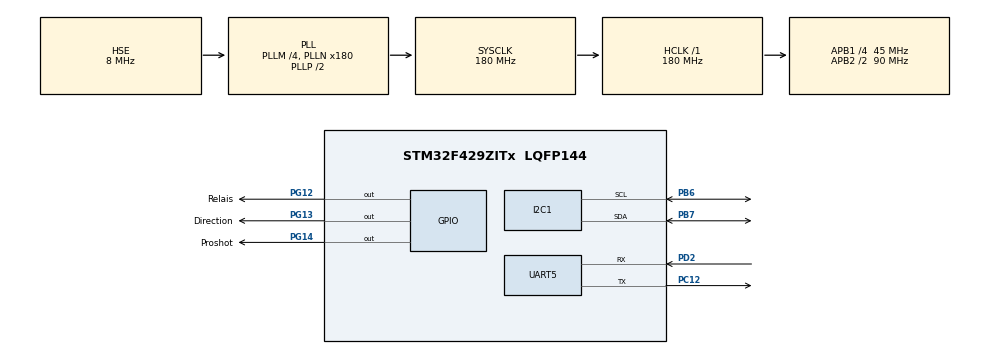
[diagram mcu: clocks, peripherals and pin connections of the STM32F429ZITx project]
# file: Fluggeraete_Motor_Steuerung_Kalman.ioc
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Mcu.Family=STM32F4
Mcu.Name=STM32F429ZITx
Mcu.Package=LQFP144
NVIC.PriorityGroup=NVIC_PRIORITYGROUP_4
NVIC.UART5_IRQn=true\:0\:0\:false\:false\:true\:true\:true\:true
PB6.Mode=I2C
PB6.Signal=I2C1_SCL
PB7.Mode=I2C
PB7.Signal=I2C1_SDA
PC12.Mode=Asynchronous
PC12.Signal=UART5_TX
PD2.Mode=Asynchronous
PD2.Signal=UART5_RX
PG12.GPIO_Label=Relais
PG12.Signal=GPIO_Output
PG13.GPIO_Label=Direction
PG13.Signal=GPIO_Output
PG14.GPIO_Label=Proshot
PG14.Signal=GPIO_Output
PH0/OSC_IN.Mode=HSE-External-Oscillator
PH0/OSC_IN.Signal=RCC_OSC_IN
PH1/OSC_OUT.Mode=HSE-External-Oscillator
PH1/OSC_OUT.Signal=RCC_OSC_OUT
ProjectManager.HeapSize=0x200
ProjectManager.StackSize=0x400
ProjectManager.TargetToolchain=STM32CubeIDE
RCC.48MHZClocksFreq_Value=90000000
RCC.AHBFreq_Value=180000000
RCC.APB1CLKDivider=RCC_HCLK_DIV4
RCC.APB1Freq_Value=45000000
RCC.APB1TimFreq_Value=90000000
RCC.APB2CLKDivider=RCC_HCLK_DIV2
RCC.APB2Freq_Value=90000000
RCC.APB2TimFreq_Value=180000000
RCC.CortexFreq_Value=180000000
RCC.HCLKFreq_Value=180000000
RCC.HSE_VALUE=8000000
RCC.HSI_VALUE=16000000
RCC.LSE_VALUE=32768
RCC.PLLM=4
RCC.PLLN=180
RCC.PLLSourceVirtual=RCC_PLLSOURCE_HSE
RCC.SYSCLKFreq_VALUE=180000000
RCC.SYSCLKSource=RCC_SYSCLKSOURCE_PLLCLK
RCC.VCOOutputFreq_Value=360000000
TIM2.Prescaler=90-1
UART5.VirtualMode=Asynchronous
VP_TIM2_VS_ClockSourceINT.Mode=Internal
board=custom

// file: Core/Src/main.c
/* USER CODE BEGIN Header */
/**
  ******************************************************************************
  * @file           : main.c
  * @brief          : Main program body
  ******************************************************************************
  * @attention
  *
  * Copyright (c) 2024 STMicroelectronics.
  * All rights reserved.
  *
  * This software is licensed under terms that can be found in the LICENSE file
  * in the root directory of this software component.
  * If no LICENSE file comes with this software, it is provided AS-IS.
  *
  ******************************************************************************
  */
/* USER CODE END Header */
#include "main.h"

/* USER CODE BEGIN PD */
#define Proshot GPIO_PIN_14
/* USER CODE END PD */

I2C_HandleTypeDef hi2c1;

TIM_HandleTypeDef htim2;

UART_HandleTypeDef huart5;

void SystemClock_Config(void);
static void MX_GPIO_Init(void);
static void MX_I2C1_Init(void);
static void MX_TIM2_Init(void);
static void MX_UART5_Init(void);

/* USER CODE BEGIN 0 */
uint8_t test = 0;
uint8_t ready = 0;
uint8_t Rx_data[1];

uint32_t Impuls_Start       = 300;    // Start-Versatz
uint32_t Impuls_Delta       =  22;    // fuer 125 ns
uint32_t Impuls_Grundbreite = 181;    // 1 us
uint32_t Impuls_Abstand     = 732;    // 4.04 us
uint32_t Impuls_Breite_1    =   0;
uint32_t Impuls_Breite_2    =   0;
uint32_t Impuls_Breite_3    =   0;
uint32_t Impuls_Breite_4    =   0;

volatile unsigned char OC_CH1_N = 0;

/* USER CODE END 0 */

int main(void)
{

  /* MCU Configuration--------------------------------------------------------*/

  /* Reset of all peripherals, Initializes the Flash interface and the Systick. */
  HAL_Init();

  /* Configure the system clock */
  SystemClock_Config();

  /* Initialize all configured peripherals */
  MX_GPIO_Init();
  MX_I2C1_Init();
  MX_TIM2_Init();
  MX_UART5_Init();
  /* USER CODE BEGIN 2 */
  HAL_Delay(100);
  HAL_TIM_Base_Start(&htim2);

  /* USER CODE END 2 */

  /* Infinite loop */
  /* USER CODE BEGIN WHILE */

    RCC->APB2ENR = RCC_APB2ENR_TIM1EN; // enable timer clock in RCC
  	RCC->APB2ENR;
  	TIM1->PSC = 0; //
  	TIM1->EGR = TIM_EGR_UG; // update event to write prescaler shadow register
  	TIM1->SR = 0; // clear interrupt flasg set by the update event
  	TIM1->ARR = 11584 - 1; // must be > CCR1 (fuer 64us)
  	TIM1->CCR1 = 100 - 1; //
  	TIM1->DIER = TIM_DIER_UIE | TIM_DIER_CC1IE; // enable CC and update interrupts in timer
  	TIM1->CR1 = TIM_CR1_CEN; // start timer

  maincpp();

  while (1)
  {
    /* USER CODE END WHILE */

  }
}

void SystemClock_Config(void)
{
  RCC_OscInitTypeDef RCC_OscInitStruct = {0};
  RCC_ClkInitTypeDef RCC_ClkInitStruct = {0};

  /** Configure the main internal regulator output voltage
  */
  __HAL_RCC_PWR_CLK_ENABLE();
  __HAL_PWR_VOLTAGESCALING_CONFIG(PWR_REGULATOR_VOLTAGE_SCALE1);

  /** Initializes the RCC Oscillators according to the specified parameters
  * in the RCC_OscInitTypeDef structure.
  */
  RCC_OscInitStruct.OscillatorType = RCC_OSCILLATORTYPE_HSE;
  RCC_OscInitStruct.HSEState = RCC_HSE_ON;
  RCC_OscInitStruct.PLL.PLLState = RCC_PLL_ON;
  RCC_OscInitStruct.PLL.PLLSource = RCC_PLLSOURCE_HSE;
  RCC_OscInitStruct.PLL.PLLM = 4;
  RCC_OscInitStruct.PLL.PLLN = 180;
  RCC_OscInitStruct.PLL.PLLP = RCC_PLLP_DIV2;
  RCC_OscInitStruct.PLL.PLLQ = 4;
  if (HAL_RCC_OscConfig(&RCC_OscInitStruct) != HAL_OK)
  {
    Error_Handler();
  }

  /** Activate the Over-Drive mode
  */
  if (HAL_PWREx_EnableOverDrive() != HAL_OK)
  {
    Error_Handler();
  }

  /** Initializes the CPU, AHB and APB buses clocks
  */
  RCC_ClkInitStruct.ClockType = RCC_CLOCKTYPE_HCLK|RCC_CLOCKTYPE_SYSCLK
                              |RCC_CLOCKTYPE_PCLK1|RCC_CLOCKTYPE_PCLK2;
  RCC_ClkInitStruct.SYSCLKSource = RCC_SYSCLKSOURCE_PLLCLK;
  RCC_ClkInitStruct.AHBCLKDivider = RCC_SYSCLK_DIV1;
  RCC_ClkInitStruct.APB1CLKDivider = RCC_HCLK_DIV4;
  RCC_ClkInitStruct.APB2CLKDivider = RCC_HCLK_DIV2;

  if (HAL_RCC_ClockConfig(&RCC_ClkInitStruct, FLASH_LATENCY_5) != HAL_OK)
  {
    Error_Handler();
  }
}

static void MX_I2C1_Init(void)
{

  hi2c1.Instance = I2C1;
  hi2c1.Init.ClockSpeed = 100000;
  hi2c1.Init.DutyCycle = I2C_DUTYCYCLE_2;
  hi2c1.Init.OwnAddress1 = 0;
  hi2c1.Init.AddressingMode = I2C_ADDRESSINGMODE_7BIT;
  hi2c1.Init.DualAddressMode = I2C_DUALADDRESS_DISABLE;
  hi2c1.Init.OwnAddress2 = 0;
  hi2c1.Init.GeneralCallMode = I2C_GENERALCALL_DISABLE;
  hi2c1.Init.NoStretchMode = I2C_NOSTRETCH_DISABLE;
  if (HAL_I2C_Init(&hi2c1) != HAL_OK)
  {
    Error_Handler();
  }

  /** Configure Analogue filter
  */
  if (HAL_I2CEx_ConfigAnalogFilter(&hi2c1, I2C_ANALOGFILTER_ENABLE) != HAL_OK)
  {
    Error_Handler();
  }

  /** Configure Digital filter
  */
  if (HAL_I2CEx_ConfigDigitalFilter(&hi2c1, 0) != HAL_OK)
  {
    Error_Handler();
  }

}

static void MX_TIM2_Init(void)
{

  TIM_ClockConfigTypeDef sClockSourceConfig = {0};
  TIM_MasterConfigTypeDef sMasterConfig = {0};

  htim2.Instance = TIM2;
  htim2.Init.Prescaler = 90-1;
  htim2.Init.CounterMode = TIM_COUNTERMODE_UP;
  htim2.Init.Period = 4294967295;
  htim2.Init.ClockDivision = TIM_CLOCKDIVISION_DIV1;
  htim2.Init.AutoReloadPreload = TIM_AUTORELOAD_PRELOAD_DISABLE;
  if (HAL_TIM_Base_Init(&htim2) != HAL_OK)
  {
    Error_Handler();
  }
  sClockSourceConfig.ClockSource = TIM_CLOCKSOURCE_INTERNAL;
  if (HAL_TIM_ConfigClockSource(&htim2, &sClockSourceConfig) != HAL_OK)
  {
    Error_Handler();
  }
  sMasterConfig.MasterOutputTrigger = TIM_TRGO_RESET;
  sMasterConfig.MasterSlaveMode = TIM_MASTERSLAVEMODE_DISABLE;
  if (HAL_TIMEx_MasterConfigSynchronization(&htim2, &sMasterConfig) != HAL_OK)
  {
    Error_Handler();
  }

}

static void MX_UART5_Init(void)
{

  huart5.Instance = UART5;
  huart5.Init.BaudRate = 115200;
  huart5.Init.WordLength = UART_WORDLENGTH_8B;
  huart5.Init.StopBits = UART_STOPBITS_1;
  huart5.Init.Parity = UART_PARITY_NONE;
  huart5.Init.Mode = UART_MODE_TX_RX;
  huart5.Init.HwFlowCtl = UART_HWCONTROL_NONE;
  huart5.Init.OverSampling = UART_OVERSAMPLING_16;
  if (HAL_UART_Init(&huart5) != HAL_OK)
  {
    Error_Handler();
  }

}

static void MX_GPIO_Init(void)
{
  GPIO_InitTypeDef GPIO_InitStruct = {0};

  /* GPIO Ports Clock Enable */
  __HAL_RCC_GPIOH_CLK_ENABLE();
  __HAL_RCC_GPIOC_CLK_ENABLE();
  __HAL_RCC_GPIOD_CLK_ENABLE();
  __HAL_RCC_GPIOG_CLK_ENABLE();
  __HAL_RCC_GPIOB_CLK_ENABLE();

  /*Configure GPIO pin Output Level */
  HAL_GPIO_WritePin(GPIOG, Relais_Pin|Direction_Pin|Proshot_Pin, GPIO_PIN_RESET);

  /*Configure GPIO pins : Relais_Pin Direction_Pin Proshot_Pin */
  GPIO_InitStruct.Pin = Relais_Pin|Direction_Pin|Proshot_Pin;
  GPIO_InitStruct.Mode = GPIO_MODE_OUTPUT_PP;
  GPIO_InitStruct.Pull = GPIO_NOPULL;
  GPIO_InitStruct.Speed = GPIO_SPEED_FREQ_LOW;
  HAL_GPIO_Init(GPIOG, &GPIO_InitStruct);

}

/* USER CODE BEGIN 4 */
void HAL_UART_RxCpltCallback(UART_HandleTypeDef *huart)
{
	test = Rx_data[0];
	ready = 1;
	HAL_UART_Receive_IT (&huart5, Rx_data, 1);

}

// interrupt handler for TIM1 capture/compare event
   void TIM1_CC_IRQHandler(void) {
   	uint32_t sr = TIM1->SR; // read interrupt flags
   	TIM1->SR = 0; // clear interrupt flags before proceeding
   	if(sr & TIM_SR_CC1IF) {									// capture event
   		switch (OC_CH1_N)									// erster Output Compare kam:
   		{
   		  case (0):
   				OC_CH1_N = 1;  								// naechster Zustand
   		        HAL_GPIO_WritePin(GPIOG,Proshot,GPIO_PIN_RESET);     // setze PG13-Pin auf High
   				TIM1->CCR1 = Impuls_Start;                  // bereite naechsten Output Compare vor
   		  break;
   		  case (1):
   				OC_CH1_N = 2;			                    // naechster Zustand
   		        HAL_GPIO_WritePin(GPIOG,Proshot,GPIO_PIN_SET);     // setze PG13-Pin auf Low
   			   TIM1->CCR1 = Impuls_Start + Impuls_Grundbreite + Impuls_Breite_1;  // bereite naechsten Output Compare vor
   		  break;
   		  case (2):
   				OC_CH1_N = 3;			                    // naechster Zustand
   			    HAL_GPIO_WritePin(GPIOG,Proshot,GPIO_PIN_RESET);     // setze PG13-Pin auf High
   			    TIM1->CCR1 = Impuls_Start + Impuls_Abstand;
   		  break;
   		  case (3):
   				OC_CH1_N = 4;
   		 	    HAL_GPIO_WritePin(GPIOG,Proshot,GPIO_PIN_SET);     // setze PG13-Pin auf Low
   		 	   TIM1->CCR1 = Impuls_Start + Impuls_Abstand + Impuls_Grundbreite + Impuls_Breite_2;
   		  break;
   		  case (4):
   				OC_CH1_N = 5;			                    // naechster Zustand
   				HAL_GPIO_WritePin(GPIOG,Proshot,GPIO_PIN_RESET);     // setze PG13-Pin auf High
   			    TIM1->CCR1 = Impuls_Start + 2 * Impuls_Abstand;
   		  break;
   		  case (5):
   				OC_CH1_N = 6;
   		 	    HAL_GPIO_WritePin(GPIOG,Proshot,GPIO_PIN_SET);     // setze PG13-Pin auf Low
   		 	   TIM1->CCR1 = Impuls_Start + 2 * Impuls_Abstand + Impuls_Grundbreite + Impuls_Breite_3;
   		  break;
   		  case (6):
   			   OC_CH1_N = 7;			                    // naechster Zustand
   			   HAL_GPIO_WritePin(GPIOG,Proshot,GPIO_PIN_RESET);     // setze PG13-Pin auf High
   			   TIM1->CCR1 = Impuls_Start + 3 * Impuls_Abstand;
   		  break;
   		  case (7):
   				OC_CH1_N = 0;
   		 	    HAL_GPIO_WritePin(GPIOG,Proshot,GPIO_PIN_SET);     // setze PG13-Pin auf Low
   		 	   TIM1->CCR1 = Impuls_Start + 3 * Impuls_Abstand + Impuls_Grundbreite + Impuls_Breite_4;;
   		  break;

   		}
      }
   }
/* USER CODE END 4 */

void Error_Handler(void)
{
  __disable_irq();
  while (1)
  {
  }
}
